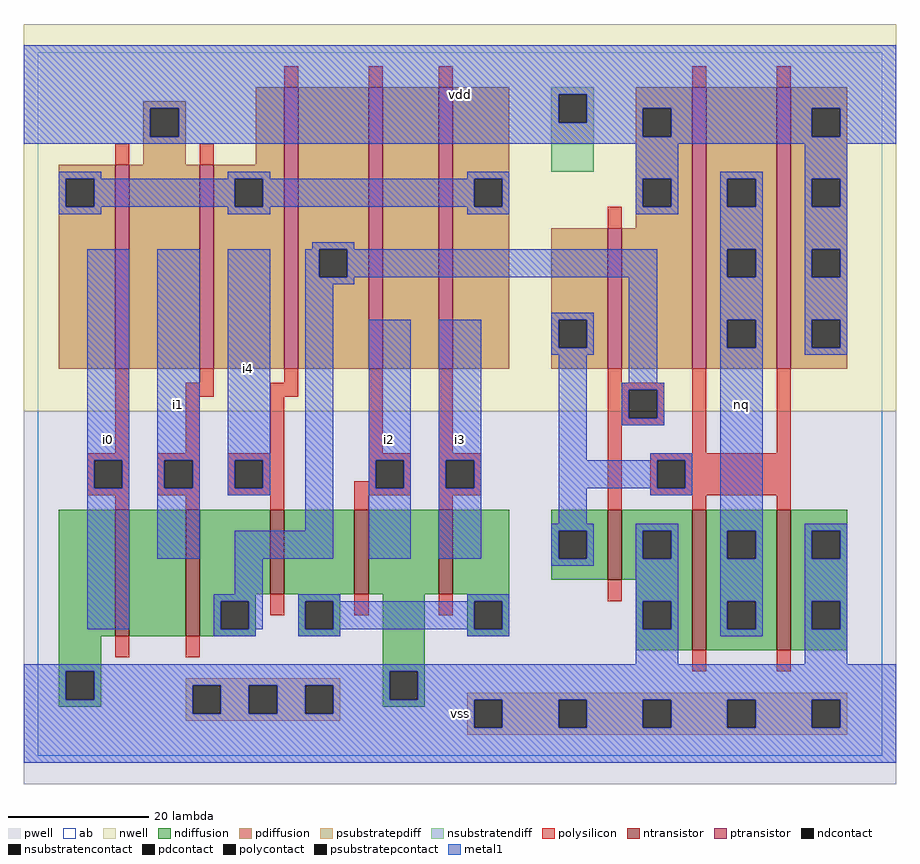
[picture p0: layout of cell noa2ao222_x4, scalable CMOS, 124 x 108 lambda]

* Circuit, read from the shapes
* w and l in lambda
.subckt noa2ao222_x4 i0 i1 i2 i3 i4 nq vdd vss
M1 n1 i0 vss vss nfet w=18 l=2
M2 n2 i1 n1 vss nfet w=18 l=2
M3 n3 i4 n2 vss nfet w=12 l=2
M4 vss i2 n3 vss nfet w=12 l=2
M5 n3 i3 vss vss nfet w=12 l=2
M6 vss n2 n4 vss nfet w=10 l=2
M7 nq n4 vss vss nfet w=20 l=2 m=2
M8 vdd i0 n5 vdd pfet w=29 l=2
M9 n5 i1 vdd vdd pfet w=29 l=2
M10 n2 i4 n5 vdd pfet w=40 l=2
M11 n6 i2 n2 vdd pfet w=40 l=2
M12 n5 i3 n6 vdd pfet w=40 l=2
M13 vdd n2 n4 vdd pfet w=20 l=2
M14 nq n4 vdd vdd pfet w=40 l=2 m=2
.ends

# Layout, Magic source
magic
tech scmos
<< ab >>
rect 0 0 120 100
<< pwell >>
rect -2 -4 122 49
<< nwell >>
rect -2 49 122 104
<< polysilicon >>
rect 35 95 37 98
rect 47 95 49 98
rect 57 95 59 98
rect 93 95 95 98
rect 105 95 107 98
rect 11 84 13 87
rect 23 84 25 87
rect 81 75 83 78
rect 11 43 13 55
rect 23 53 25 55
rect 35 53 37 55
rect 21 51 25 53
rect 33 51 37 53
rect 21 43 23 51
rect 33 43 35 51
rect 7 42 13 43
rect 7 38 8 42
rect 12 38 13 42
rect 7 37 13 38
rect 17 42 23 43
rect 17 38 18 42
rect 22 38 23 42
rect 17 37 23 38
rect 27 42 35 43
rect 27 38 28 42
rect 32 38 35 42
rect 47 43 49 55
rect 57 43 59 55
rect 81 53 83 55
rect 81 52 89 53
rect 81 48 84 52
rect 88 48 89 52
rect 81 47 89 48
rect 47 42 53 43
rect 47 39 48 42
rect 27 37 35 38
rect 11 35 13 37
rect 21 35 23 37
rect 33 35 35 37
rect 45 38 48 39
rect 52 38 53 42
rect 45 37 53 38
rect 57 42 63 43
rect 57 38 58 42
rect 62 38 63 42
rect 57 37 63 38
rect 45 35 47 37
rect 57 35 59 37
rect 81 35 83 47
rect 93 43 95 55
rect 105 43 107 55
rect 87 42 107 43
rect 87 38 88 42
rect 92 38 107 42
rect 87 37 107 38
rect 93 35 95 37
rect 105 35 107 37
rect 33 20 35 23
rect 45 20 47 23
rect 11 14 13 17
rect 21 14 23 17
rect 57 20 59 23
rect 81 22 83 25
rect 93 12 95 15
rect 105 12 107 15
<< ndiffusion >>
rect 3 17 11 35
rect 13 17 21 35
rect 23 23 33 35
rect 35 23 45 35
rect 47 23 57 35
rect 59 23 67 35
rect 73 32 81 35
rect 73 28 74 32
rect 78 28 81 32
rect 73 25 81 28
rect 83 32 93 35
rect 83 28 86 32
rect 90 28 93 32
rect 83 25 93 28
rect 23 22 31 23
rect 23 18 26 22
rect 30 18 31 22
rect 37 22 43 23
rect 23 17 31 18
rect 37 18 38 22
rect 42 18 43 22
rect 37 17 43 18
rect 3 12 9 17
rect 3 8 4 12
rect 8 8 9 12
rect 49 12 55 23
rect 61 22 67 23
rect 85 22 93 25
rect 61 18 62 22
rect 66 18 67 22
rect 61 17 67 18
rect 85 18 86 22
rect 90 18 93 22
rect 85 15 93 18
rect 95 32 105 35
rect 95 28 98 32
rect 102 28 105 32
rect 95 22 105 28
rect 95 18 98 22
rect 102 18 105 22
rect 95 15 105 18
rect 107 32 115 35
rect 107 28 110 32
rect 114 28 115 32
rect 107 22 115 28
rect 107 18 110 22
rect 114 18 115 22
rect 107 15 115 18
rect 3 7 9 8
rect 49 8 50 12
rect 54 8 55 12
rect 49 7 55 8
<< pdiffusion >>
rect 15 92 21 93
rect 15 88 16 92
rect 20 88 21 92
rect 15 84 21 88
rect 31 84 35 95
rect 3 82 11 84
rect 3 78 4 82
rect 8 78 11 82
rect 3 55 11 78
rect 13 55 23 84
rect 25 82 35 84
rect 25 78 28 82
rect 32 78 35 82
rect 25 55 35 78
rect 37 72 47 95
rect 37 68 40 72
rect 44 68 47 72
rect 37 55 47 68
rect 49 55 57 95
rect 59 82 67 95
rect 85 92 93 95
rect 85 88 86 92
rect 90 88 93 92
rect 59 78 62 82
rect 66 78 67 82
rect 85 82 93 88
rect 85 78 86 82
rect 90 78 93 82
rect 59 55 67 78
rect 85 75 93 78
rect 73 62 81 75
rect 73 58 74 62
rect 78 58 81 62
rect 73 55 81 58
rect 83 55 93 75
rect 95 82 105 95
rect 95 78 98 82
rect 102 78 105 82
rect 95 72 105 78
rect 95 68 98 72
rect 102 68 105 72
rect 95 62 105 68
rect 95 58 98 62
rect 102 58 105 62
rect 95 55 105 58
rect 107 92 115 95
rect 107 88 110 92
rect 114 88 115 92
rect 107 82 115 88
rect 107 78 110 82
rect 114 78 115 82
rect 107 72 115 78
rect 107 68 110 72
rect 114 68 115 72
rect 107 62 115 68
rect 107 58 110 62
rect 114 58 115 62
rect 107 55 115 58
<< metal1 >>
rect -2 94 122 101
rect -2 92 74 94
rect -2 88 16 92
rect 20 90 74 92
rect 78 92 122 94
rect 78 90 86 92
rect 20 88 86 90
rect 90 88 110 92
rect 114 88 122 92
rect -2 87 122 88
rect 3 82 9 83
rect 27 82 33 83
rect 61 82 67 83
rect 3 78 4 82
rect 8 78 28 82
rect 32 78 62 82
rect 66 78 67 82
rect 3 77 9 78
rect 27 77 33 78
rect 61 77 67 78
rect 85 82 91 87
rect 85 78 86 82
rect 90 78 91 82
rect 85 77 91 78
rect 97 82 103 83
rect 97 78 98 82
rect 102 78 103 82
rect 39 72 45 73
rect 97 72 103 78
rect 7 42 13 72
rect 7 38 8 42
rect 12 38 13 42
rect 7 18 13 38
rect 17 42 23 72
rect 17 38 18 42
rect 22 38 23 42
rect 17 28 23 38
rect 27 42 33 72
rect 27 38 28 42
rect 32 38 33 42
rect 27 37 33 38
rect 38 68 40 72
rect 44 68 88 72
rect 38 67 45 68
rect 38 32 42 67
rect 73 62 79 63
rect 28 28 42 32
rect 47 42 53 62
rect 47 38 48 42
rect 52 38 53 42
rect 47 28 53 38
rect 57 42 63 62
rect 73 58 74 62
rect 78 58 79 62
rect 73 57 79 58
rect 57 38 58 42
rect 62 38 63 42
rect 57 28 63 38
rect 74 42 78 57
rect 84 53 88 68
rect 97 68 98 72
rect 102 68 103 72
rect 97 62 103 68
rect 97 58 98 62
rect 102 58 103 62
rect 83 52 89 53
rect 83 48 84 52
rect 88 48 89 52
rect 83 47 89 48
rect 87 42 93 43
rect 74 38 88 42
rect 92 38 93 42
rect 74 33 78 38
rect 87 37 93 38
rect 73 32 79 33
rect 73 28 74 32
rect 78 28 79 32
rect 28 23 32 28
rect 73 27 79 28
rect 85 32 91 33
rect 85 28 86 32
rect 90 28 91 32
rect 25 22 32 23
rect 25 18 26 22
rect 30 18 32 22
rect 37 22 43 23
rect 61 22 67 23
rect 37 18 38 22
rect 42 18 62 22
rect 66 18 67 22
rect 25 17 31 18
rect 37 17 43 18
rect 61 17 67 18
rect 85 22 91 28
rect 85 18 86 22
rect 90 18 91 22
rect 85 13 91 18
rect 97 32 103 58
rect 109 82 115 87
rect 109 78 110 82
rect 114 78 115 82
rect 109 72 115 78
rect 109 68 110 72
rect 114 68 115 72
rect 109 62 115 68
rect 109 58 110 62
rect 114 58 115 62
rect 109 57 115 58
rect 97 28 98 32
rect 102 28 103 32
rect 97 22 103 28
rect 97 18 98 22
rect 102 18 103 22
rect 97 17 103 18
rect 109 32 115 33
rect 109 28 110 32
rect 114 28 115 32
rect 109 22 115 28
rect 109 18 110 22
rect 114 18 115 22
rect 109 13 115 18
rect -2 12 122 13
rect -2 8 4 12
rect 8 10 50 12
rect 8 8 22 10
rect -2 6 22 8
rect 26 6 30 10
rect 34 6 38 10
rect 42 8 50 10
rect 54 8 122 12
rect 42 6 62 8
rect -2 4 62 6
rect 66 4 74 8
rect 78 4 86 8
rect 90 4 98 8
rect 102 4 110 8
rect 114 4 122 8
rect -2 -1 122 4
<< ntransistor >>
rect 11 17 13 35
rect 21 17 23 35
rect 33 23 35 35
rect 45 23 47 35
rect 57 23 59 35
rect 81 25 83 35
rect 93 15 95 35
rect 105 15 107 35
<< ptransistor >>
rect 11 55 13 84
rect 23 55 25 84
rect 35 55 37 95
rect 47 55 49 95
rect 57 55 59 95
rect 81 55 83 75
rect 93 55 95 95
rect 105 55 107 95
<< polycontact >>
rect 8 38 12 42
rect 18 38 22 42
rect 28 38 32 42
rect 84 48 88 52
rect 48 38 52 42
rect 58 38 62 42
rect 88 38 92 42
<< ndcontact >>
rect 74 28 78 32
rect 86 28 90 32
rect 26 18 30 22
rect 38 18 42 22
rect 4 8 8 12
rect 62 18 66 22
rect 86 18 90 22
rect 98 28 102 32
rect 98 18 102 22
rect 110 28 114 32
rect 110 18 114 22
rect 50 8 54 12
<< pdcontact >>
rect 16 88 20 92
rect 4 78 8 82
rect 28 78 32 82
rect 40 68 44 72
rect 86 88 90 92
rect 62 78 66 82
rect 86 78 90 82
rect 74 58 78 62
rect 98 78 102 82
rect 98 68 102 72
rect 98 58 102 62
rect 110 88 114 92
rect 110 78 114 82
rect 110 68 114 72
rect 110 58 114 62
<< psubstratepcontact >>
rect 22 6 26 10
rect 30 6 34 10
rect 38 6 42 10
rect 62 4 66 8
rect 74 4 78 8
rect 86 4 90 8
rect 98 4 102 8
rect 110 4 114 8
<< nsubstratencontact >>
rect 74 90 78 94
<< psubstratepdiff >>
rect 21 10 43 11
rect 21 6 22 10
rect 26 6 30 10
rect 34 6 38 10
rect 42 6 43 10
rect 61 8 115 9
rect 21 5 43 6
rect 61 4 62 8
rect 66 4 74 8
rect 78 4 86 8
rect 90 4 98 8
rect 102 4 110 8
rect 114 4 115 8
rect 61 3 115 4
<< nsubstratendiff >>
rect 73 94 79 95
rect 73 90 74 94
rect 78 90 79 94
rect 73 83 79 90
<< labels >>
rlabel metal1 10 45 10 45 6 i0
rlabel metal1 20 50 20 50 6 i1
rlabel metal1 20 50 20 50 6 i1
rlabel metal1 10 45 10 45 6 i0
rlabel metal1 30 55 30 55 6 i4
rlabel metal1 30 55 30 55 6 i4
rlabel metal1 60 6 60 6 6 vss
rlabel metal1 60 6 60 6 6 vss
rlabel metal1 50 45 50 45 6 i2
rlabel metal1 50 45 50 45 6 i2
rlabel metal1 60 45 60 45 6 i3
rlabel metal1 60 45 60 45 6 i3
rlabel metal1 60 94 60 94 6 vdd
rlabel metal1 60 94 60 94 6 vdd
rlabel metal1 100 50 100 50 6 nq
rlabel metal1 100 50 100 50 6 nq
<< end >>
